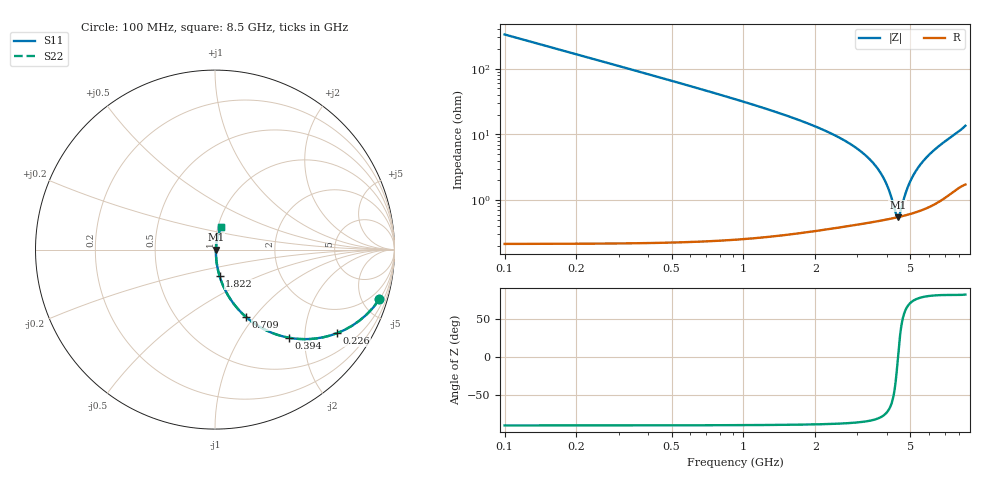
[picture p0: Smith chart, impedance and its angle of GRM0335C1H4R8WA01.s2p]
!Murata Part Number: GRM0335C1H4R8WA01
!These Parameters are Measured in Series Mode Connection
!Data Generated on Mar 30, 2021
!  o--ll--o
!Port1  Port2
!  o------o
!Operation Temp=25[degC], DC Bias Voltage=0[V]
!Freq. Start=100[MHz] Stop=9[GHz] 401[Steps]
# Hz S RI R 50
!Freq.(Hz) S11(Real) S11(Imag) S21(Real) S21(Imag) S12(Real) S12(Imag) S22(Real) S22(Imag)
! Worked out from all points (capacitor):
!   401 points, 100 MHz to 8.5 GHz, reference 50 ohm
!   read as one part in series: C = 4.8 pF near 142 MHz
!   lowest |Z| = 551 mohm at 4.426 GHz (marker M1)
!   series resonance near 4.437 GHz, so ESL is about 270 pH
!   S11 on the Smith chart (normalised r, x): 100 MHz: 1.00, -6.63; 226 MHz: 1.00, -2.93; 394 MHz: 1.00, -1.67; 709 MHz: 1.00, -0.91; 1.822 GHz: 1.01, -0.30; 8.5 GHz: 1.03, +0.27
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1e8  0.9164 -0.2765  0.0836 0.2765  0.0836 0.2765  0.9164 -0.2765
2.26e8  0.6814 -0.4652  0.3186 0.4652  0.3186 0.4652  0.6814 -0.4652
3.94e8  0.4109 -0.4907  0.5891 0.4907  0.5891 0.4907  0.4109 -0.4907
5.41e8  0.2678 -0.441  0.7322 0.441  0.7322 0.441  0.2678 -0.441
7.09e8  0.1731 -0.3758  0.8269 0.3758  0.8269 0.3758  0.1731 -0.3758
1.024e9  0.0877 -0.2788  0.9123 0.2788  0.9123 0.2788  0.0877 -0.2788
1.507e9  0.0391 -0.1863  0.9609 0.1863  0.9609 0.1863  0.0391 -0.1863
1.822e9  0.0254 -0.1469  0.9746 0.1469  0.9746 0.1469  0.0254 -0.1469
2.914e9  0.0083 -0.0642  0.9917 0.0642  0.9917 0.0642  0.0083 -0.0642
3.397e9  0.00617 -0.0403  0.9938 0.0403  0.9938 0.0403  0.00617 -0.0403
3.775e9  0.00545 -0.0243  0.9945 0.0243  0.9945 0.0243  0.00545 -0.0243
4.048e9  0.00529 -0.0138  0.9947 0.0138  0.9947 0.0138  0.00529 -0.0138
4.3e9  0.00536 -0.00475  0.9946 0.00475  0.9946 0.00475  0.00536 -0.00475
4.426e9  0.00546 -0.000391  0.9945 0.000391  0.9945 0.000391  0.00546 -0.000391
4.51e9  0.00556 0.00245  0.9944 -0.00245  0.9944 -0.00245  0.00556 0.00245
4.762e9  0.00594 0.0107  0.9941 -0.0107  0.9941 -0.0107  0.00594 0.0107
5.014e9  0.00648 0.0187  0.9935 -0.0187  0.9935 -0.0187  0.00648 0.0187
5.329e9  0.00737 0.0283  0.9926 -0.0283  0.9926 -0.0283  0.00737 0.0283
5.707e9  0.00876 0.0394  0.9912 -0.0394  0.9912 -0.0394  0.00876 0.0394
6.316e9  0.0118 0.0567  0.9882 -0.0567  0.9882 -0.0567  0.0118 0.0567
7.114e9  0.0176 0.0792  0.9824 -0.0792  0.9824 -0.0792  0.0176 0.0792
8.5e9  0.0338 0.1277  0.9662 -0.1277  0.9662 -0.1277  0.0338 0.1277
